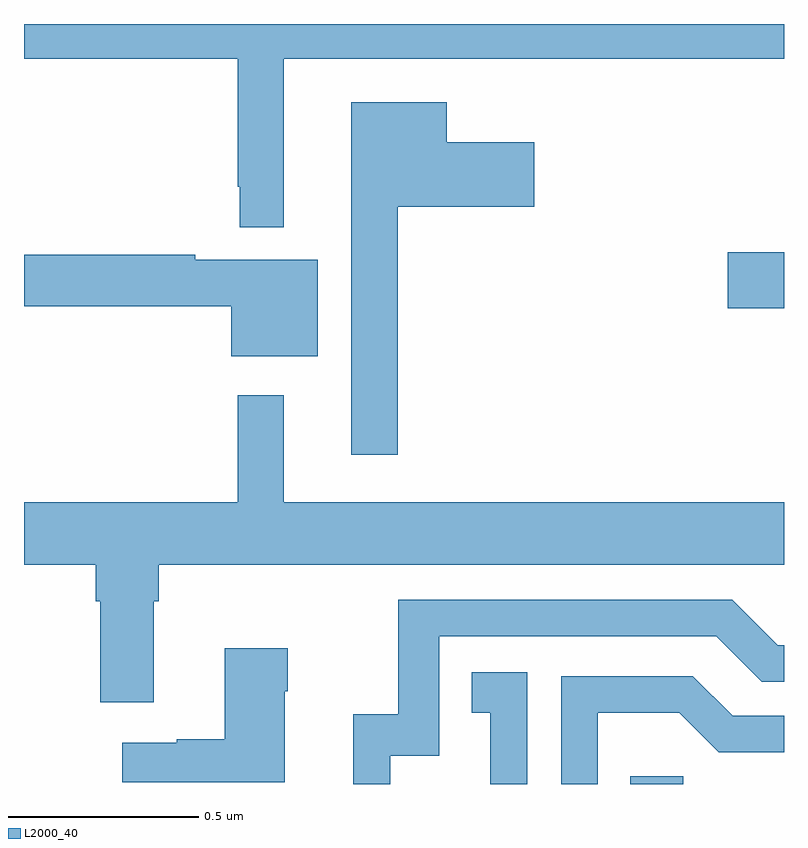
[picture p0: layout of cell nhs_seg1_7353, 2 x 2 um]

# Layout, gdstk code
import gdstk
lib = gdstk.Library(unit=1e-6, precision=1e-09)
def R(c, l, rs):  # rectangles x0, y0, x1, y1
    for r in rs: c.add(gdstk.rectangle(r[:2], r[2:], *l))
def P(c, l, *ps):  # polygons
    for p in ps: c.add(gdstk.Polygon(p, *l))
L2000_40 = (2000, 40)

nhs_seg1_7353 = lib.new_cell('nhs_seg1_7353')
R(nhs_seg1_7353, L2000_40, [(204.595,507.199,204.735,507.219), (204.852,508.451,205,508.598)])
P(nhs_seg1_7353, L2000_40, [(203.683,509.108),(205,509.108),(205,509.199),(203,509.199),(203,509.108),(203.562,509.108),(203.562,508.771),(203.568,508.771),(203.568,508.664),(203.683,508.664)],
  [(203.983,508.718),(204.343,508.718),(204.343,508.888),(204.112,508.888),(204.112,508.993),(203.861,508.993),(203.861,508.065),(203.983,508.065)],
  [(203.773,508.579),(203.45,508.579),(203.45,508.592),(203,508.592),(203,508.456),(203.546,508.456),(203.546,508.325),(203.773,508.325)],
  [(203,507.776),(203.189,507.776),(203.189,507.68),(203.201,507.68),(203.201,507.414),(203.341,507.414),(203.341,507.68),(203.354,507.68),(203.354,507.776),(205,507.776),(205,507.94),(203.683,507.94),(203.683,508.222),(203.562,508.222),(203.562,507.94),(203,507.94)],
  [(203.964,507.273),(204.093,507.273),(204.093,507.588),(204.822,507.588),(204.942,507.468),(205,507.468),(205,507.564),(204.984,507.564),(204.864,507.684),(203.985,507.684),(203.985,507.382),(203.867,507.382),(203.867,507.199),(203.964,507.199)],
  [(203.686,507.443),(203.694,507.443),(203.694,507.556),(203.528,507.556),(203.528,507.317),(203.402,507.317),(203.402,507.307),(203.259,507.307),(203.259,507.203),(203.686,507.203)],
  [(204.324,507.493),(204.178,507.493),(204.178,507.387),(204.227,507.387),(204.227,507.199),(204.324,507.199)],
  [(204.51,507.386),(204.724,507.386),(204.828,507.282),(205,507.282),(205,507.378),(204.865,507.378),(204.76,507.483),(204.414,507.483),(204.414,507.199),(204.51,507.199)])

lib.write_gds('nhs_seg1_7353.gds')
